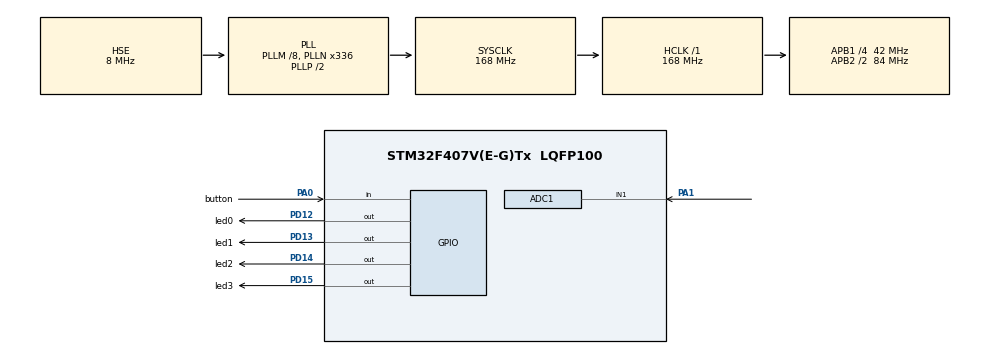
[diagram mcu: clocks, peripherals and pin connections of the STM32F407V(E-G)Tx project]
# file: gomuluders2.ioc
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ADC1.Channel-0\#ChannelRegularConversion=ADC_CHANNEL_1
ADC1.NbrOfConversionFlag=1
ADC1.Rank-0\#ChannelRegularConversion=1
ADC1.SamplingTime-0\#ChannelRegularConversion=ADC_SAMPLETIME_3CYCLES
ADC1.master=1
Mcu.Family=STM32F4
Mcu.Name=STM32F407V(E-G)Tx
Mcu.Package=LQFP100
NVIC.PriorityGroup=NVIC_PRIORITYGROUP_0
PA0-WKUP.GPIO_Label=button
PA0-WKUP.GPIO_PuPd=GPIO_PULLDOWN
PA0-WKUP.Signal=GPIO_Input
PA1.Signal=ADCx_IN1
PA13.Mode=Serial_Wire
PA13.Signal=SYS_JTMS-SWDIO
PA14.Mode=Serial_Wire
PA14.Signal=SYS_JTCK-SWCLK
PD12.GPIO_Label=led0
PD12.GPIO_Speed=GPIO_SPEED_FREQ_MEDIUM
PD12.Signal=GPIO_Output
PD13.GPIO_Label=led1
PD13.GPIO_Speed=GPIO_SPEED_FREQ_MEDIUM
PD13.Signal=GPIO_Output
PD14.GPIO_Label=led2
PD14.GPIO_Speed=GPIO_SPEED_FREQ_MEDIUM
PD14.Signal=GPIO_Output
PD15.GPIO_Label=led3
PD15.GPIO_Speed=GPIO_SPEED_FREQ_MEDIUM
PD15.Signal=GPIO_Output
PH0-OSC_IN.Mode=HSE-External-Oscillator
PH0-OSC_IN.Signal=RCC_OSC_IN
PH1-OSC_OUT.Mode=HSE-External-Oscillator
PH1-OSC_OUT.Signal=RCC_OSC_OUT
ProjectManager.HeapSize=0x200
ProjectManager.StackSize=0x400
ProjectManager.TargetToolchain=STM32CubeIDE
RCC.48MHZClocksFreq_Value=48000000
RCC.AHBFreq_Value=168000000
RCC.APB1CLKDivider=RCC_HCLK_DIV4
RCC.APB1Freq_Value=42000000
RCC.APB1TimFreq_Value=84000000
RCC.APB2CLKDivider=RCC_HCLK_DIV2
RCC.APB2Freq_Value=84000000
RCC.APB2TimFreq_Value=168000000
RCC.CortexFreq_Value=168000000
RCC.HCLKFreq_Value=168000000
RCC.HSE_VALUE=8000000
RCC.HSI_VALUE=16000000
RCC.PLLM=8
RCC.PLLN=336
RCC.PLLQ=7
RCC.PLLSourceVirtual=RCC_PLLSOURCE_HSE
RCC.SYSCLKFreq_VALUE=168000000
RCC.SYSCLKSource=RCC_SYSCLKSOURCE_PLLCLK
RCC.VCOOutputFreq_Value=336000000
SH.ADCx_IN1.0=ADC1_IN1,IN1
board=STM32F407G-DISC1

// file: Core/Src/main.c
/* USER CODE BEGIN Header */
/**
  ******************************************************************************
  * @file           : main.c
  * @brief          : Main program body
  ******************************************************************************
  * @attention
  *
  * Copyright (c) 2024 STMicroelectronics.
  * All rights reserved.
  *
  * This software is licensed under terms that can be found in the LICENSE file
  * in the root directory of this software component.
  * If no LICENSE file comes with this software, it is provided AS-IS.
  *
  ******************************************************************************
  */
/* USER CODE END Header */
#include "main.h"

ADC_HandleTypeDef hadc1;

/* USER CODE BEGIN PV */
uint16_t buttonState = 0;
uint16_t counter=0;
/* USER CODE END PV */

void SystemClock_Config(void);
static void MX_GPIO_Init(void);
static void MX_ADC1_Init(void);

int main(void)
{

  /* MCU Configuration--------------------------------------------------------*/

  /* Reset of all peripherals, Initializes the Flash interface and the Systick. */
  HAL_Init();

  /* Configure the system clock */
  SystemClock_Config();

  /* Initialize all configured peripherals */
  MX_GPIO_Init();
  MX_ADC1_Init();

  /* Infinite loop */
  while (1)
  {

    /* USER CODE BEGIN 3 */
	  buttonState = HAL_GPIO_ReadPin(button_GPIO_Port, button_Pin);

	  // aç kapa uygulama
	  /*
	  if(buttonState){
		  HAL_GPIO_WritePin(GPIOD, led0_Pin | led1_Pin | led2_Pin | led3_Pin, GPIO_PIN_SET);
	  }
	  else
	  {
		  HAL_GPIO_WritePin(GPIOD, led0_Pin | led1_Pin | led2_Pin | led3_Pin, GPIO_PIN_RESET);
	  } */
	  if(buttonState){
		  while(HAL_GPIO_ReadPin(button_GPIO_Port, button_Pin)); // butona bastığımızda elimizi çekmemizi bekler
		  counter++;
		  HAL_Delay(300);
		  if(counter%4==1){
			  HAL_GPIO_WritePin(GPIOD, led0_Pin, GPIO_PIN_SET);
			  HAL_GPIO_WritePin(GPIOD, led1_Pin | led2_Pin | led3_Pin, GPIO_PIN_RESET);
		  }
		  else if(counter % 4 ==2){
			  HAL_GPIO_WritePin(GPIOD, led1_Pin, GPIO_PIN_SET);
			  HAL_GPIO_WritePin(GPIOD, led0_Pin | led2_Pin | led3_Pin, GPIO_PIN_RESET);
		  }
		  else if(counter % 4 ==3){
		  			  HAL_GPIO_WritePin(GPIOD, led2_Pin, GPIO_PIN_SET);
		  			  HAL_GPIO_WritePin(GPIOD, led0_Pin | led1_Pin | led3_Pin, GPIO_PIN_RESET);
		  		  }
		  else if(counter % 4 ==0){
		  		  			  HAL_GPIO_WritePin(GPIOD, led3_Pin, GPIO_PIN_SET);
		  		  			  HAL_GPIO_WritePin(GPIOD, led0_Pin | led1_Pin | led2_Pin, GPIO_PIN_RESET);
		  		  		  }
		  else{
			  HAL_GPIO_WritePin(GPIOD, led0_Pin | led1_Pin | led2_Pin | led3_Pin, GPIO_PIN_RESET);
		  }
	  }
  }
  /* USER CODE END 3 */
}

void SystemClock_Config(void)
{
  RCC_OscInitTypeDef RCC_OscInitStruct = {0};
  RCC_ClkInitTypeDef RCC_ClkInitStruct = {0};

  /** Configure the main internal regulator output voltage
  */
  __HAL_RCC_PWR_CLK_ENABLE();
  __HAL_PWR_VOLTAGESCALING_CONFIG(PWR_REGULATOR_VOLTAGE_SCALE1);

  /** Initializes the RCC Oscillators according to the specified parameters
  * in the RCC_OscInitTypeDef structure.
  */
  RCC_OscInitStruct.OscillatorType = RCC_OSCILLATORTYPE_HSE;
  RCC_OscInitStruct.HSEState = RCC_HSE_ON;
  RCC_OscInitStruct.PLL.PLLState = RCC_PLL_ON;
  RCC_OscInitStruct.PLL.PLLSource = RCC_PLLSOURCE_HSE;
  RCC_OscInitStruct.PLL.PLLM = 8;
  RCC_OscInitStruct.PLL.PLLN = 336;
  RCC_OscInitStruct.PLL.PLLP = RCC_PLLP_DIV2;
  RCC_OscInitStruct.PLL.PLLQ = 7;
  if (HAL_RCC_OscConfig(&RCC_OscInitStruct) != HAL_OK)
  {
    Error_Handler();
  }

  /** Initializes the CPU, AHB and APB buses clocks
  */
  RCC_ClkInitStruct.ClockType = RCC_CLOCKTYPE_HCLK|RCC_CLOCKTYPE_SYSCLK
                              |RCC_CLOCKTYPE_PCLK1|RCC_CLOCKTYPE_PCLK2;
  RCC_ClkInitStruct.SYSCLKSource = RCC_SYSCLKSOURCE_PLLCLK;
  RCC_ClkInitStruct.AHBCLKDivider = RCC_SYSCLK_DIV1;
  RCC_ClkInitStruct.APB1CLKDivider = RCC_HCLK_DIV4;
  RCC_ClkInitStruct.APB2CLKDivider = RCC_HCLK_DIV2;

  if (HAL_RCC_ClockConfig(&RCC_ClkInitStruct, FLASH_LATENCY_5) != HAL_OK)
  {
    Error_Handler();
  }
}

static void MX_ADC1_Init(void)
{

  ADC_ChannelConfTypeDef sConfig = {0};

  /** Configure the global features of the ADC (Clock, Resolution, Data Alignment and number of conversion)
  */
  hadc1.Instance = ADC1;
  hadc1.Init.ClockPrescaler = ADC_CLOCK_SYNC_PCLK_DIV4;
  hadc1.Init.Resolution = ADC_RESOLUTION_12B;
  hadc1.Init.ScanConvMode = DISABLE;
  hadc1.Init.ContinuousConvMode = DISABLE;
  hadc1.Init.DiscontinuousConvMode = DISABLE;
  hadc1.Init.ExternalTrigConvEdge = ADC_EXTERNALTRIGCONVEDGE_NONE;
  hadc1.Init.ExternalTrigConv = ADC_SOFTWARE_START;
  hadc1.Init.DataAlign = ADC_DATAALIGN_RIGHT;
  hadc1.Init.NbrOfConversion = 1;
  hadc1.Init.DMAContinuousRequests = DISABLE;
  hadc1.Init.EOCSelection = ADC_EOC_SINGLE_CONV;
  if (HAL_ADC_Init(&hadc1) != HAL_OK)
  {
    Error_Handler();
  }

  /** Configure for the selected ADC regular channel its corresponding rank in the sequencer and its sample time.
  */
  sConfig.Channel = ADC_CHANNEL_1;
  sConfig.Rank = 1;
  sConfig.SamplingTime = ADC_SAMPLETIME_3CYCLES;
  if (HAL_ADC_ConfigChannel(&hadc1, &sConfig) != HAL_OK)
  {
    Error_Handler();
  }

}

static void MX_GPIO_Init(void)
{
  GPIO_InitTypeDef GPIO_InitStruct = {0};

  /* GPIO Ports Clock Enable */
  __HAL_RCC_GPIOH_CLK_ENABLE();
  __HAL_RCC_GPIOA_CLK_ENABLE();
  __HAL_RCC_GPIOD_CLK_ENABLE();

  /*Configure GPIO pin Output Level */
  HAL_GPIO_WritePin(GPIOD, led0_Pin|led1_Pin|led2_Pin|led3_Pin, GPIO_PIN_RESET);

  /*Configure GPIO pin : button_Pin */
  GPIO_InitStruct.Pin = button_Pin;
  GPIO_InitStruct.Mode = GPIO_MODE_INPUT;
  GPIO_InitStruct.Pull = GPIO_PULLDOWN;
  HAL_GPIO_Init(button_GPIO_Port, &GPIO_InitStruct);

  /*Configure GPIO pins : led0_Pin led1_Pin led2_Pin led3_Pin */
  GPIO_InitStruct.Pin = led0_Pin|led1_Pin|led2_Pin|led3_Pin;
  GPIO_InitStruct.Mode = GPIO_MODE_OUTPUT_PP;
  GPIO_InitStruct.Pull = GPIO_NOPULL;
  GPIO_InitStruct.Speed = GPIO_SPEED_FREQ_MEDIUM;
  HAL_GPIO_Init(GPIOD, &GPIO_InitStruct);

}

void Error_Handler(void)
{
  __disable_irq();
  while (1)
  {
  }
}
